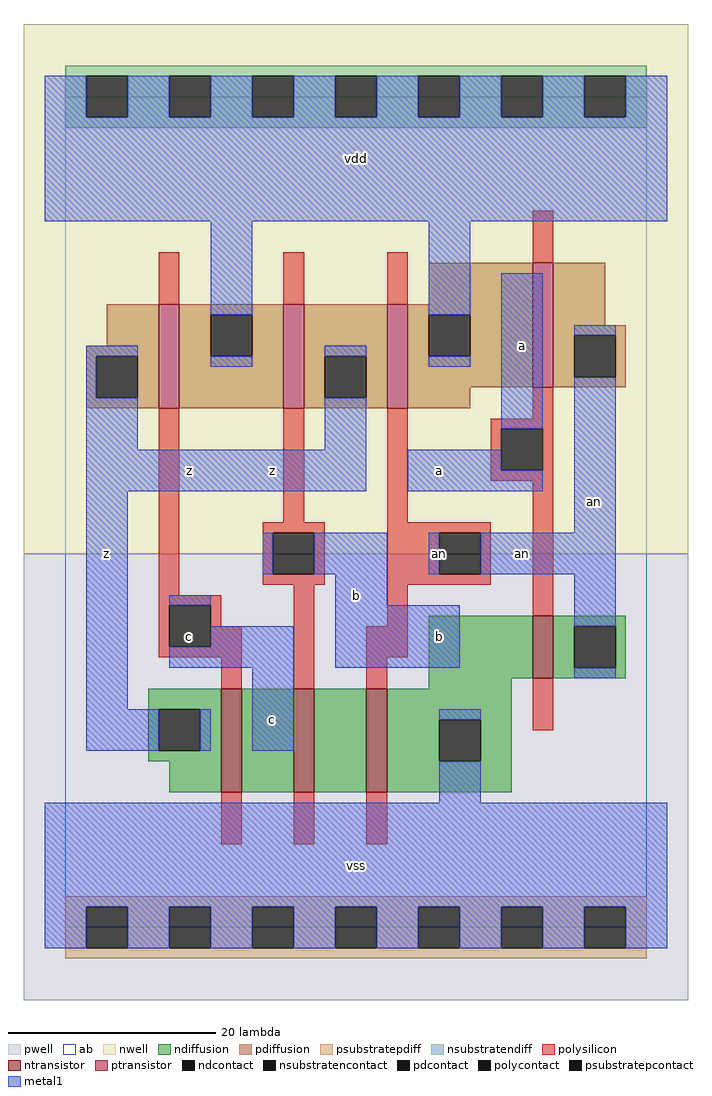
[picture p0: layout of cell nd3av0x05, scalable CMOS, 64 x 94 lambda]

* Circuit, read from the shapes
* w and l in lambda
.subckt nd3av0x05 a an b c vdd vss z
M1 n1 c z vss nfet w=10 l=2
M2 n2 b n1 vss nfet w=10 l=2
M3 vss an n2 vss nfet w=10 l=2
M4 an a vss vss nfet w=6 l=2
M5 vdd c z vdd pfet w=10 l=2
M6 z b vdd vdd pfet w=10 l=2
M7 vdd an z vdd pfet w=10 l=2
M8 an a vdd vdd pfet w=12 l=2
.ends

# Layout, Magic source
magic
tech scmos
<< ab >>
rect 0 0 56 80
<< pwell >>
rect -4 -7 60 36
<< nwell >>
rect -4 36 60 87
<< polysilicon >>
rect 9 60 11 65
rect 21 60 23 65
rect 31 60 33 65
rect 45 64 47 69
rect 9 32 11 50
rect 21 39 23 50
rect 31 39 33 50
rect 45 49 47 52
rect 41 48 47 49
rect 41 44 42 48
rect 46 44 47 48
rect 41 43 47 44
rect 19 38 25 39
rect 19 34 20 38
rect 24 34 25 38
rect 19 33 25 34
rect 31 38 41 39
rect 31 34 36 38
rect 40 34 41 38
rect 31 33 41 34
rect 9 31 15 32
rect 9 27 10 31
rect 14 29 15 31
rect 14 27 17 29
rect 9 26 17 27
rect 15 23 17 26
rect 22 23 24 33
rect 31 29 33 33
rect 45 30 47 43
rect 29 26 33 29
rect 29 23 31 26
rect 45 19 47 24
rect 15 8 17 13
rect 22 8 24 13
rect 29 8 31 13
<< ndiffusion >>
rect 35 24 45 30
rect 47 29 54 30
rect 47 25 49 29
rect 53 25 54 29
rect 47 24 54 25
rect 35 23 43 24
rect 8 21 15 23
rect 8 17 9 21
rect 13 17 15 21
rect 8 16 15 17
rect 10 13 15 16
rect 17 13 22 23
rect 24 13 29 23
rect 31 20 43 23
rect 31 16 36 20
rect 40 16 43 20
rect 31 13 43 16
<< pdiffusion >>
rect 35 60 45 64
rect 4 56 9 60
rect 2 55 9 56
rect 2 51 3 55
rect 7 51 9 55
rect 2 50 9 51
rect 11 59 21 60
rect 11 55 14 59
rect 18 55 21 59
rect 11 50 21 55
rect 23 55 31 60
rect 23 51 25 55
rect 29 51 31 55
rect 23 50 31 51
rect 33 59 45 60
rect 33 55 35 59
rect 39 55 45 59
rect 33 52 45 55
rect 47 58 52 64
rect 47 57 54 58
rect 47 53 49 57
rect 53 53 54 57
rect 47 52 54 53
rect 33 50 39 52
<< metal1 >>
rect -2 78 2 82
rect 6 78 10 82
rect 14 78 18 82
rect 22 78 26 82
rect 30 78 34 82
rect 38 78 42 82
rect 46 78 50 82
rect 54 78 58 82
rect -2 68 58 78
rect 14 59 18 68
rect 2 55 7 56
rect 2 51 3 55
rect 35 59 39 68
rect 14 54 18 55
rect 25 55 29 56
rect 2 46 7 51
rect 35 54 39 55
rect 25 46 29 51
rect 42 48 46 63
rect 2 42 29 46
rect 33 44 42 46
rect 33 42 46 44
rect 49 57 53 58
rect 2 21 6 42
rect 49 38 53 53
rect 19 34 20 38
rect 24 34 31 38
rect 35 34 36 38
rect 40 34 53 38
rect 10 31 14 32
rect 26 31 31 34
rect 14 27 22 29
rect 10 25 22 27
rect 26 25 38 31
rect 49 29 53 34
rect 2 17 9 21
rect 13 17 14 21
rect 18 17 22 25
rect 49 24 53 25
rect 36 20 40 21
rect 36 12 40 16
rect -2 2 58 12
rect -2 -2 2 2
rect 6 -2 10 2
rect 14 -2 18 2
rect 22 -2 26 2
rect 30 -2 34 2
rect 38 -2 42 2
rect 46 -2 50 2
rect 54 -2 58 2
<< ntransistor >>
rect 45 24 47 30
rect 15 13 17 23
rect 22 13 24 23
rect 29 13 31 23
<< ptransistor >>
rect 9 50 11 60
rect 21 50 23 60
rect 31 50 33 60
rect 45 52 47 64
<< polycontact >>
rect 42 44 46 48
rect 20 34 24 38
rect 36 34 40 38
rect 10 27 14 31
<< ndcontact >>
rect 49 25 53 29
rect 9 17 13 21
rect 36 16 40 20
<< pdcontact >>
rect 3 51 7 55
rect 14 55 18 59
rect 25 51 29 55
rect 35 55 39 59
rect 49 53 53 57
<< psubstratepcontact >>
rect 2 -2 6 2
rect 10 -2 14 2
rect 18 -2 22 2
rect 26 -2 30 2
rect 34 -2 38 2
rect 42 -2 46 2
rect 50 -2 54 2
<< nsubstratencontact >>
rect 2 78 6 82
rect 10 78 14 82
rect 18 78 22 82
rect 26 78 30 82
rect 34 78 38 82
rect 42 78 46 82
rect 50 78 54 82
<< psubstratepdiff >>
rect 0 2 56 3
rect 0 -2 2 2
rect 6 -2 10 2
rect 14 -2 18 2
rect 22 -2 26 2
rect 30 -2 34 2
rect 38 -2 42 2
rect 46 -2 50 2
rect 54 -2 56 2
rect 0 -3 56 -2
<< nsubstratendiff >>
rect 0 82 56 83
rect 0 78 2 82
rect 6 78 10 82
rect 14 78 18 82
rect 22 78 26 82
rect 30 78 34 82
rect 38 78 42 82
rect 46 78 50 82
rect 54 78 56 82
rect 0 77 56 78
<< labels >>
rlabel polysilicon 36 36 36 36 6 an
rlabel metal1 4 36 4 36 6 z
rlabel metal1 20 20 20 20 6 c
rlabel polycontact 12 28 12 28 6 c
rlabel metal1 20 44 20 44 6 z
rlabel metal1 12 44 12 44 6 z
rlabel metal1 28 6 28 6 6 vss
rlabel metal1 28 32 28 32 6 b
rlabel metal1 36 28 36 28 6 b
rlabel metal1 36 44 36 44 6 a
rlabel metal1 28 74 28 74 6 vdd
rlabel metal1 44 36 44 36 6 an
rlabel metal1 51 41 51 41 6 an
rlabel metal1 44 56 44 56 6 a
<< end >>
